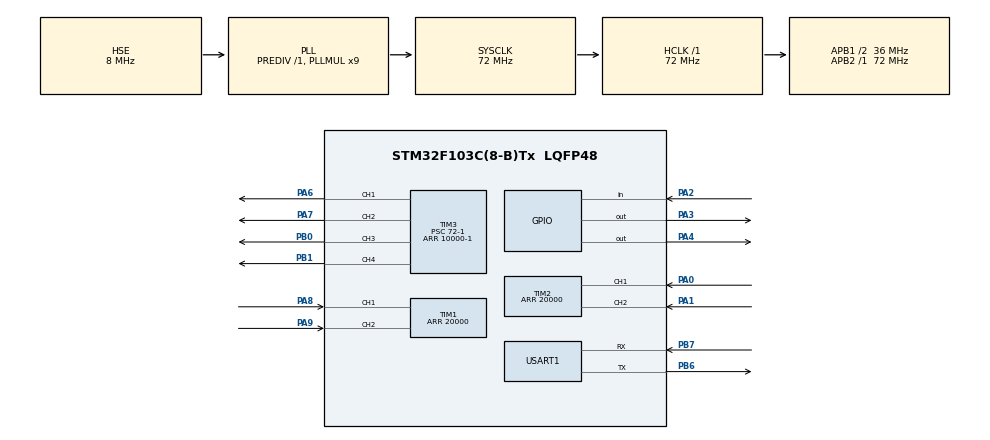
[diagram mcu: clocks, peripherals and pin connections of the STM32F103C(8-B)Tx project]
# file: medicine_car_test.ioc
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Mcu.Family=STM32F1
Mcu.Name=STM32F103C(8-B)Tx
Mcu.Package=LQFP48
NVIC.PriorityGroup=NVIC_PRIORITYGROUP_4
NVIC.TIM2_IRQn=true\:0\:0\:false\:false\:true\:true\:true
NVIC.TIM4_IRQn=true\:1\:0\:true\:false\:true\:true\:true
PA0-WKUP.GPIO_PuPd=GPIO_PULLUP
PA0-WKUP.Signal=S_TIM2_CH1_ETR
PA1.GPIO_PuPd=GPIO_PULLUP
PA1.Signal=S_TIM2_CH2
PA13.Mode=Serial_Wire
PA13.Signal=SYS_JTMS-SWDIO
PA14.Mode=Serial_Wire
PA14.Signal=SYS_JTCK-SWCLK
PA2.Signal=GPIO_Input
PA3.Signal=GPIO_Output
PA4.Signal=GPIO_Output
PA6.Signal=S_TIM3_CH1
PA7.Signal=S_TIM3_CH2
PA8.GPIO_PuPd=GPIO_PULLUP
PA8.Signal=S_TIM1_CH1
PA9.GPIO_PuPd=GPIO_PULLUP
PA9.Signal=S_TIM1_CH2
PB0.Signal=S_TIM3_CH3
PB1.Signal=S_TIM3_CH4
PB6.Mode=Asynchronous
PB6.Signal=USART1_TX
PB7.Mode=Asynchronous
PB7.Signal=USART1_RX
PD0-OSC_IN.Mode=HSE-External-Oscillator
PD0-OSC_IN.Signal=RCC_OSC_IN
PD1-OSC_OUT.Mode=HSE-External-Oscillator
PD1-OSC_OUT.Signal=RCC_OSC_OUT
ProjectManager.HeapSize=0x200
ProjectManager.StackSize=0x400
ProjectManager.TargetToolchain=MDK-ARM V5.32
RCC.AHBFreq_Value=72000000
RCC.APB1CLKDivider=RCC_HCLK_DIV2
RCC.APB1Freq_Value=36000000
RCC.APB1TimFreq_Value=72000000
RCC.APB2Freq_Value=72000000
RCC.APB2TimFreq_Value=72000000
RCC.HCLKFreq_Value=72000000
RCC.PLLMUL=RCC_PLL_MUL9
RCC.PLLSourceVirtual=RCC_PLLSOURCE_HSE
RCC.SYSCLKFreq_VALUE=72000000
RCC.SYSCLKSource=RCC_SYSCLKSOURCE_PLLCLK
RCC.USBFreq_Value=72000000
SH.S_TIM1_CH1.0=TIM1_CH1,Encoder_Interface
SH.S_TIM1_CH2.0=TIM1_CH2,Encoder_Interface
SH.S_TIM2_CH1_ETR.0=TIM2_CH1,Encoder_Interface
SH.S_TIM2_CH2.0=TIM2_CH2,Encoder_Interface
SH.S_TIM3_CH1.0=TIM3_CH1,PWM Generation1 CH1
SH.S_TIM3_CH2.0=TIM3_CH2,PWM Generation2 CH2
SH.S_TIM3_CH3.0=TIM3_CH3,PWM Generation3 CH3
SH.S_TIM3_CH4.0=TIM3_CH4,PWM Generation4 CH4
TIM1.EncoderMode=TIM_ENCODERMODE_TI12
TIM1.Period=20000
TIM2.EncoderMode=TIM_ENCODERMODE_TI12
TIM2.Period=20000
TIM3.AutoReloadPreload=TIM_AUTORELOAD_PRELOAD_DISABLE
TIM3.Channel-PWM\ Generation1\ CH1=TIM_CHANNEL_1
TIM3.Channel-PWM\ Generation2\ CH2=TIM_CHANNEL_2
TIM3.Channel-PWM\ Generation3\ CH3=TIM_CHANNEL_3
TIM3.Channel-PWM\ Generation4\ CH4=TIM_CHANNEL_4
TIM3.Period=10000-1
TIM3.Prescaler=72-1
TIM4.Period=10000
TIM4.Prescaler=720-1
USART1.VirtualMode=VM_ASYNC
VP_TIM3_VS_ClockSourceINT.Mode=Internal
VP_TIM4_VS_ClockSourceINT.Mode=Internal
board=custom

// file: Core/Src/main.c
/* USER CODE BEGIN Header */
/**
  ******************************************************************************
  * @file           : main.c
  * @brief          : Main program body
  ******************************************************************************
  * @attention
  *
  * Copyright (c) 2024 STMicroelectronics.
  * All rights reserved.
  *
  * This software is licensed under terms that can be found in the LICENSE file
  * in the root directory of this software component.
  * If no LICENSE file comes with this software, it is provided AS-IS.
  *
  ******************************************************************************
  */
/* USER CODE END Header */
#include "main.h"
#include "tim.h"
#include "usart.h"
#include "gpio.h"

/* USER CODE BEGIN Includes */
#include "encoder.h"
#include <stdio.h>
#include "pid.h"
#include "led.h"
#include "medicine.h"
#include "string.h"
/* USER CODE END Includes */

/* USER CODE BEGIN PD */
#define velocity_set 2000
/* USER CODE END PD */

/* USER CODE BEGIN PM */
//Motor motor1;
/* USER CODE END PM */

/* USER CODE BEGIN PV */
Motor motor1,motor2;
uint8_t receive_buff[4] = {0,0,0,0};
float foward_distance = 0;
float left_angle = 0;
float right_angle = 0;
float error = 0;
int medicine_flag = 0;

/* USER CODE END PV */

void SystemClock_Config(void);

/* USER CODE BEGIN 0 */
int fputc(int ch, FILE *f)
{
  HAL_UART_Transmit(&huart1, (uint8_t *)&ch, 1, 0xffff);
  return ch;
}

int fgetc(FILE *f)
{
  uint8_t ch = 0;
  HAL_UART_Receive(&huart1, &ch, 1, 0xffff);
  return ch;
}

/* USER CODE END 0 */

int main(void)
{

  /* MCU Configuration--------------------------------------------------------*/

  /* Reset of all peripherals, Initializes the Flash interface and the Systick. */
  HAL_Init();

  /* Configure the system clock */
  SystemClock_Config();

  /* Initialize all configured peripherals */
  MX_GPIO_Init();
  MX_TIM2_Init();
  MX_TIM3_Init();
  MX_TIM4_Init();
  MX_USART1_UART_Init();
  MX_TIM1_Init();
  /* USER CODE BEGIN 2 */
  Motor_Init();
  PID_Init();
  HAL_Delay(1000);
  /* USER CODE END 2 */

  /* Infinite loop */
  /* USER CODE BEGIN WHILE */
  while (1)
  {
	  //printf("OK");//测试串口
	  //Target_Speed_1 = 5*velocity_set;
	  motor_foward(100,velocity_set/3);//测试电机
	  //Target_Speed_1 = 0;
      HAL_Delay(1000);
	  medicine_flag = get_medicine();
	 HAL_UART_Receive(&huart1,receive_buff,sizeof(receive_buff),0xff);
	  //HAL_Delay(100);
//	  if(-medicine_flag)
//	  {
//		printf("2");
//		led1_off();
//	  }

	  if(receive_buff[0] != 0)
      {
		  //HAL_UART_Transmit(&huart1,(uint8_t*)receive_buff,sizeof(receive_buff),0xffff);
		if((receive_buff[0]=='O')&&(receive_buff[1]=='K')&&(receive_buff[2]=='O')&&(receive_buff[3]=='K'))//OKOK
		  {
			led1_on();
			while(medicine_flag){medicine_flag = get_medicine();}
			printf("0");
			led1_off();
		  }
		else
		{
		  switch(receive_buff[0])
			  {
			  case 'G': //前进
				  if(receive_buff[1] == '+')
					  {
					  foward_distance = (receive_buff[2]-'0')*10 + (receive_buff[3]-'0');
					  motor_foward(foward_distance,velocity_set);
					  }
				  else if(receive_buff[1] == '-')
					  {
					  foward_distance = - (receive_buff[2]-'0')*10 - (receive_buff[3]-'0');
					  motor_foward(foward_distance,-velocity_set);
					  }

				  printf("1");
				  break;
			  case 'L': //左转
				  if(receive_buff[1] == '+'){left_angle = (receive_buff[2]-'0')*10 + (receive_buff[3]-'0');motor_turnleft(left_angle,velocity_set);}
				  else if(receive_buff[1] == '-'){left_angle = - (receive_buff[2]-'0')*10 - (receive_buff[3]-'0');motor_turnleft(left_angle,-velocity_set);}
			      printf("1");
				  break;
			  case 'R': //右转
				  if(receive_buff[1] == '+'){right_angle = (receive_buff[2]-'0')*10 + (receive_buff[3]-'0');motor_turnright(right_angle,velocity_set);}
				  else if(receive_buff[1] == '-'){right_angle = - (receive_buff[2]-'0')*10 - (receive_buff[3]-'0');motor_turnright(right_angle,-velocity_set);}
			      printf("1");
				  break;
			  case 'E': //纠正
				  if(receive_buff[1] == '+'){error = (receive_buff[2]-'0')*10 + (receive_buff[3]-'0');}
				  else if(receive_buff[1] == '-'){error = - (receive_buff[2]-'0')*10 - (receive_buff[3]-'0');}
				  fix_error(error,velocity_set);
			      break;
			  }
		}
		memset(receive_buff,0,20);
	  }
//	//HAL_UART_Transmit(&huart1, (uint8_t *)(int)motor1.speed, sizeof((int)motor1.speed), 0xffff);//传输速度信号
//	  HAL_Delay(100);
	  //Speed_PID_Realize()
    /* USER CODE END WHILE */

  }
}

void SystemClock_Config(void)
{
  RCC_OscInitTypeDef RCC_OscInitStruct = {0};
  RCC_ClkInitTypeDef RCC_ClkInitStruct = {0};

  /** Initializes the RCC Oscillators according to the specified parameters
  * in the RCC_OscInitTypeDef structure.
  */
  RCC_OscInitStruct.OscillatorType = RCC_OSCILLATORTYPE_HSE;
  RCC_OscInitStruct.HSEState = RCC_HSE_ON;
  RCC_OscInitStruct.HSEPredivValue = RCC_HSE_PREDIV_DIV1;
  RCC_OscInitStruct.HSIState = RCC_HSI_ON;
  RCC_OscInitStruct.PLL.PLLState = RCC_PLL_ON;
  RCC_OscInitStruct.PLL.PLLSource = RCC_PLLSOURCE_HSE;
  RCC_OscInitStruct.PLL.PLLMUL = RCC_PLL_MUL9;
  if (HAL_RCC_OscConfig(&RCC_OscInitStruct) != HAL_OK)
  {
    Error_Handler();
  }
  /** Initializes the CPU, AHB and APB buses clocks
  */
  RCC_ClkInitStruct.ClockType = RCC_CLOCKTYPE_HCLK|RCC_CLOCKTYPE_SYSCLK
                              |RCC_CLOCKTYPE_PCLK1|RCC_CLOCKTYPE_PCLK2;
  RCC_ClkInitStruct.SYSCLKSource = RCC_SYSCLKSOURCE_PLLCLK;
  RCC_ClkInitStruct.AHBCLKDivider = RCC_SYSCLK_DIV1;
  RCC_ClkInitStruct.APB1CLKDivider = RCC_HCLK_DIV2;
  RCC_ClkInitStruct.APB2CLKDivider = RCC_HCLK_DIV1;

  if (HAL_RCC_ClockConfig(&RCC_ClkInitStruct, FLASH_LATENCY_2) != HAL_OK)
  {
    Error_Handler();
  }
}

void Error_Handler(void)
{
  __disable_irq();
  while (1)
  {
  }
}
